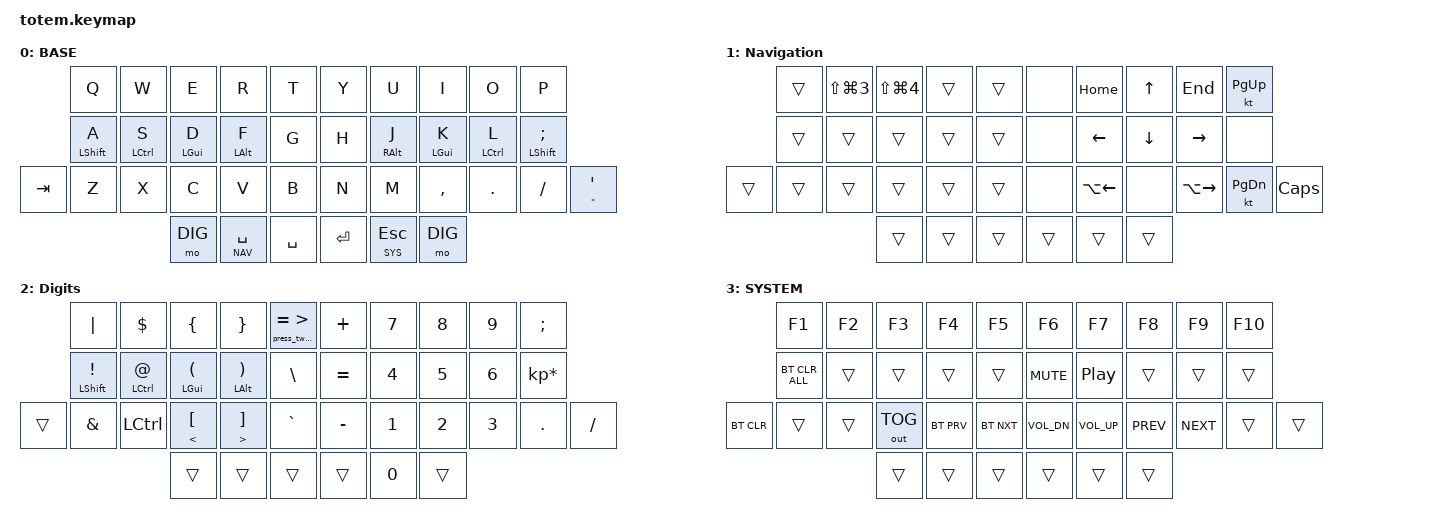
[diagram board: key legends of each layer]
//
//                                                        ▀▀▀▀▀     ▀▀▀▀▀          ▀▀█▀▀
//                                                        ▄▀▀▀▄  ▄  ▄▀▀▀▄  ▄  ▄▀▀▀▄  █  ▄▀▀▀▄
//                                                        █   █  █  █   █  █  █   █  █  █   █
//                                                         ▀▀▀   █   ▀▀▀   █   ▀▀▀   ▀   ▀▀▀
//                                                               █      ▄▄▄█▄▄▄    █   █
//                                                               ▀      █  █  █     █▄█
//                                                             ▀▀▀▀▀    █  █  █      ▀
//                                                                      ▀  ▀  ▀
//
// ▄▄▄▄▄▄▄▄▄▄▄▄▄▄▄▄▄▄▄▄▄▄▄▄▄▄▄▄▄▄▄▄▄▄▄▄▄▄▄▄▄▄▄▄▄▄▄▄▄▄▄▄▄▄▄▄▄▄▄▄▄▄▄▄▄▄▄▄▄▄▄▄▄▄▄▄▄▄▄▄▄▄▄▄▄▄▄▄▄▄▄▄▄▄▄▄▄▄▄▄▄▄▄▄▄▄▄▄▄▄▄▄▄▄▄▄▄▄▄▄▄▄▄▄▄▄▄▄▄▄▄▄▄▄▄▄▄▄▄▄▄▄▄▄▄▄▄▄▄

#include "zmk-helpers/helper.h"
#include "zmk-helpers/key-labels/totem.h"
#include <behaviors.dtsi>
#include <dt-bindings/zmk/bt.h>
#include <dt-bindings/zmk/keys.h>
#include <dt-bindings/zmk/outputs.h>

#define BASE 0
#define NAV  1
#define DIG  2
#define SYS  3
#define QUICK_TAP_MS 175

/* Timeless homerow mods */
// https://github.com/urob/zmk-config/tree/main#timeless-homerow-mods

#define KEYS_L LT0 LT1 LT2 LT3 LT4 LM0 LM1 LM2 LM3 LM4 LB0 LB1 LB2 LB3 LB4 LB5  // left hand
#define KEYS_R RT0 RT1 RT2 RT3 RT4 RM0 RM1 RM2 RM3 RM4 RB0 RB1 RB2 RB3 RB4 RB5  // right hand
#define THUMBS LH2 LH1 LH0 RH0 RH1 RH2 // thumb cluster for both hands

// proper urob's home row, uncomment it if you are not going to use visual editor
//#define MAKE_HRM(NAME, HOLD, TAP, TRIGGER_POS) \
//    ZMK_HOLD_TAP(NAME, \
//        flavor = "balanced"; \
//        tapping-term-ms = <280>; \
//        quick-tap-ms = <QUICK_TAP_MS>; \
//        require-prior-idle-ms = <150>; \
//        bindings = <HOLD>, <TAP>; \
//        hold-trigger-key-positions = <TRIGGER_POS>; \
//        hold-trigger-on-release; \
//    )
//
//MAKE_HRM(hml, &kp, &kp, KEYS_R THUMBS)  // left-hand HRMs
//MAKE_HRM(hmr, &kp, &kp, KEYS_L THUMBS)  // right-hand HRMs
//MAKE_HRM(hml_layer, &mo, &kp, KEYS_R THUMBS) // switch layer like HRM

/ {
    combos {
        compatible = "zmk,combos";

        backspace {
            bindings = <&kp BACKSPACE>;
            key-positions = <17 16>;
            timeout-ms = <75>;
        };

        caps-words {
            bindings = <&caps_word>;
            key-positions = <11 12 13>;
        };

        lang {
            bindings = <&kp LC(SPACE)>;
            key-positions = <34 21>;
        };

        esc {
            bindings = <&kp ESC>;
            key-positions = <0 1>;
            timeout-ms = <75>;
        };
    };

    macros {
        /**
         * Temporarily switches to a layer (`&mo`) while a modifier is held.
         * Analogous to QMK's `LM()`, using a parameterized macro.
         *
         * Params:
         *  1. Layer to switch to
         *  2. Modifier to press while layer is active
         *
         * Example:
         *  `&lm NUM_LAYER LSHIFT`
         */

        lm: lm {
            compatible = "zmk,behavior-macro-two-param";
            wait-ms = <0>;
            tap-ms = <0>;
            #binding-cells = <2>;
            bindings =
                <&macro_param_1to1>,
                <&macro_press>,
                <&mo MACRO_PLACEHOLDER &macro_param_2to1>,
                <&macro_press>,
                <&kp MACRO_PLACEHOLDER>,
                <&macro_pause_for_release>,
                <&macro_param_2to1>,
                <&macro_release>,
                <&kp MACRO_PLACEHOLDER &macro_param_1to1>,
                <&macro_release>,
                <&mo MACRO_PLACEHOLDER>;
        };

        press_two_keys: press_two_keys {
            compatible = "zmk,behavior-macro-two-param";
            wait-ms = <0>;
            tap-ms = <0>;
            #binding-cells = <2>;
            bindings =
                <&macro_param_1to1>,
                <&macro_tap>,
                <&kp MACRO_PLACEHOLDER &macro_param_2to1>,
                <&macro_tap>,
                <&kp MACRO_PLACEHOLDER>;
        };
    };

    behaviors {
        // this is homerow mod that works identical to urob's one, but this one allows visual editor to understand

        hml: hml {
            compatible = "zmk,behavior-hold-tap";
            label = "HML";
            bindings = <&kp>, <&kp>;

            #binding-cells = <2>;
            tapping-term-ms = <175>;
            quick-tap-ms = <100>;
            flavor = "tap-preferred";
        };

        hmr: hmr {
            compatible = "zmk,behavior-hold-tap";
            label = "HMR";
            bindings = <&kp>, <&kp>;

            #binding-cells = <2>;
            tapping-term-ms = <175>;
            quick-tap-ms = <200>;
            flavor = "tap-preferred";
        };
    };

    keymap {
        compatible = "zmk,keymap";

        QWERTY {
            label = "BASE";
            bindings = <
         &kp Q         &kp W         &kp E        &kp R          &kp T        &kp Y    &kp U        &kp I        &kp O         &kp P
         &hml LSHFT A  &hml LCTRL S  &hml LGUI D  &hml LALT F    &kp G        &kp H    &hmr RALT J  &hmr LGUI K  &hmr LCTRL L  &hmr LSHIFT SEMICOLON
&kp TAB  &kp Z         &kp X         &kp C        &kp V          &kp B        &kp N    &kp M        &kp COMMA    &kp DOT       &kp SLASH              &mt DOUBLE_QUOTES SQT
                                     &mo DIG      &lt NAV SPACE  &kp SPACE    &kp RET  &lt SYS ESC  &mo DIG
            >;
        };

        Navigation {
            label = "Navigation";
            bindings = <
        &trans  &kp LS(LG(NUMBER_3))  &kp LS(LG(NUMBER_4))  &trans  &trans    &none   &kp HOME      &kp UP    &kp END        &kt PAGE_UP
        &trans  &trans                &trans                &trans  &trans    &none   &kp LEFT      &kp DOWN  &kp RIGHT      &none
&trans  &trans  &trans                &trans                &trans  &trans    &none   &kp LA(LEFT)  &none     &kp LA(RIGHT)  &kt PAGE_DOWN  &kp CAPSLOCK
                                      &trans                &trans  &trans    &trans  &trans        &trans
            >;
        };

        digits {
            label = "Digits";
            bindings = <
        &kp PIPE                 &kp DOLLAR          &kp LEFT_BRACE               &kp RIGHT_BRACE                  &press_two_keys EQUAL GREATER_THAN    &kp PLUS   &kp N7  &kp N8  &kp N9  &kp SEMICOLON
        &hml LSHIFT EXCLAMATION  &hml LCTRL AT_SIGN  &hml LGUI LEFT_PARENTHESIS   &hml LALT RIGHT_PARENTHESIS      &kp BACKSLASH                         &kp EQUAL  &kp N4  &kp N5  &kp N6  &kp KP_MULTIPLY
&trans  &kp AMPERSAND            &kp LCTRL           &hml LESS_THAN LEFT_BRACKET  &hml GREATER_THAN RIGHT_BRACKET  &kp GRAVE                             &kp MINUS  &kp N1  &kp N2  &kp N3  &kp PERIOD       &kp SLASH
                                                     &trans                       &trans                           &trans                                &trans     &kp N0  &trans
            >;
        };

        sim_layer {
            label = "SYSTEM";
            bindings = <
            &kp F1          &kp F2  &kp F3        &kp F4      &kp F5        &kp F6        &kp F7        &kp F8      &kp F9      &kp F10
            &bt BT_CLR_ALL  &trans  &trans        &trans      &trans        &kp C_MUTE    &kp C_PP      &trans      &trans      &trans
&bt BT_CLR  &trans          &trans  &out OUT_TOG  &bt BT_PRV  &bt BT_NXT    &kp C_VOL_DN  &kp C_VOL_UP  &kp C_PREV  &kp C_NEXT  &trans   &trans
                                    &trans        &trans      &trans        &trans        &trans        &trans
            >;
        };
    };
};
